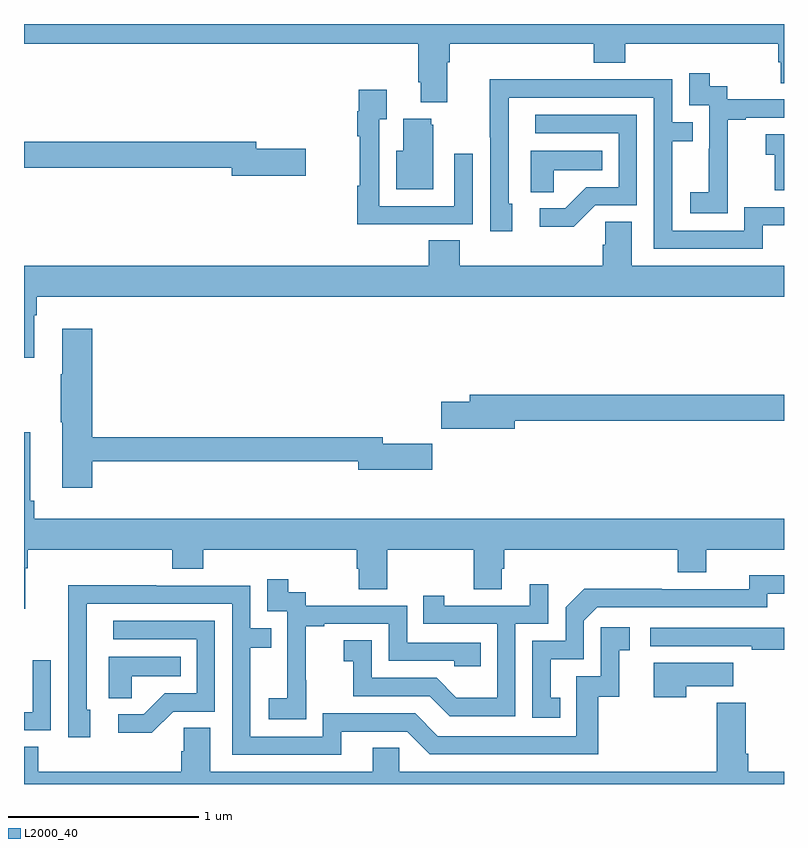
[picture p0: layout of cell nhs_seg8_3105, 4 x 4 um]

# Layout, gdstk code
import gdstk
lib = gdstk.Library(unit=1e-6, precision=1e-09)
def P(c, l, *ps):  # polygons
    for p in ps: c.add(gdstk.Polygon(p, *l))
L2000_40 = (2000, 40)

nhs_seg8_3105 = lib.new_cell('nhs_seg8_3105')
P(nhs_seg8_3105, L2000_40, [(305.227,1153.7),(305.24,1153.7),(305.24,1153.796),(305.999,1153.796),(305.999,1153.697),(306.164,1153.697),(306.164,1153.796),(306.971,1153.796),(306.971,1153.698),(306.983,1153.698),(306.983,1153.588),(307,1153.588),(307,1153.9),(303,1153.9),(303,1153.796),(305.075,1153.796),(305.075,1153.594),(305.087,1153.594),(305.087,1153.487),(305.227,1153.487)],
  [(306.705,1153.111),(306.704,1153.111),(306.704,1153.395),(306.799,1153.395),(306.799,1153.407),(307,1153.407),(307,1153.503),(306.702,1153.503),(306.702,1153.572),(306.61,1153.572),(306.61,1153.642),(306.501,1153.642),(306.501,1153.473),(306.606,1153.473),(306.606,1153.244),(306.605,1153.244),(306.605,1153.015),(306.507,1153.015),(306.507,1152.905),(306.705,1152.905)],
  [(306.889,1152.84),(307,1152.84),(307,1152.936),(306.792,1152.936),(306.792,1152.813),(306.411,1152.813),(306.411,1153.282),(306.521,1153.282),(306.521,1153.383),(306.411,1153.383),(306.411,1153.608),(305.915,1153.608),(305.915,1153.61),(305.452,1153.61),(305.452,1153.303),(305.454,1153.303),(305.454,1152.81),(305.569,1152.81),(305.569,1152.954),(305.55,1152.954),(305.55,1153.512),(306.315,1153.512),(306.315,1152.717),(306.889,1152.717)],
  [(305.045,1152.846),(305.361,1152.846),(305.361,1153.216),(305.265,1153.216),(305.265,1152.942),(304.869,1152.942),(304.869,1153.399),(304.909,1153.399),(304.909,1153.555),(304.761,1153.555),(304.761,1153.442),(304.753,1153.442),(304.753,1153.31),(304.768,1153.31),(304.768,1153.049),(304.753,1153.049),(304.753,1152.845),(305.045,1152.845)],
  [(306.006,1152.945),(306.225,1152.945),(306.225,1153.422),(305.691,1153.422),(305.691,1153.326),(306.129,1153.326),(306.129,1153.041),(305.96,1153.041),(305.849,1152.93),(305.715,1152.93),(305.715,1152.833),(305.893,1152.833)],
  [(305.155,1153.371),(305.144,1153.371),(305.144,1153.402),(304.997,1153.402),(304.997,1153.234),(304.958,1153.234),(304.958,1153.031),(305.155,1153.031)],
  [(307,1153.321),(306.903,1153.321),(306.903,1153.211),(306.952,1153.211),(306.952,1153.026),(307,1153.026)],
  [(304.483,1153.244),(304.222,1153.244),(304.222,1153.28),(303,1153.28),(303,1153.144),(304.094,1153.144),(304.094,1153.102),(304.483,1153.102)],
  [(305.787,1153.13),(306.044,1153.13),(306.044,1153.234),(305.666,1153.234),(305.666,1153.015),(305.787,1153.015)],
  [(303.055,1152.368),(303.068,1152.368),(303.068,1152.464),(307,1152.464),(307,1152.628),(306.199,1152.628),(306.199,1152.86),(306.06,1152.86),(306.06,1152.737),(306.047,1152.737),(306.047,1152.628),(305.294,1152.628),(305.294,1152.761),(305.129,1152.761),(305.129,1152.628),(303,1152.628),(303,1152.144),(303.055,1152.144)],
  [(303.359,1151.598),(304.76,1151.598),(304.76,1151.555),(305.149,1151.555),(305.149,1151.69),(304.888,1151.69),(304.888,1151.726),(303.359,1151.726),(303.359,1152.295),(303.2,1152.295),(303.2,1152.056),(303.193,1152.056),(303.193,1151.803),(303.2,1151.803),(303.2,1151.46),(303.359,1151.46)],
  [(305.584,1151.812),(307,1151.812),(307,1151.948),(305.345,1151.948),(305.345,1151.912),(305.196,1151.912),(305.196,1151.77),(305.584,1151.77)],
  [(303.007,1151.036),(303.02,1151.036),(303.02,1151.132),(303.779,1151.132),(303.779,1151.033),(303.944,1151.033),(303.944,1151.132),(304.751,1151.132),(304.751,1151.034),(304.763,1151.034),(304.763,1150.924),(304.911,1150.924),(304.911,1151.132),(305.368,1151.132),(305.368,1150.924),(305.515,1150.924),(305.515,1151.034),(305.528,1151.034),(305.528,1151.132),(306.44,1151.132),(306.44,1151.015),(306.592,1151.015),(306.592,1151.132),(307,1151.132),(307,1151.296),(303.053,1151.296),(303.053,1151.392),(303.034,1151.392),(303.034,1151.752),(303,1151.752),(303,1150.823),(303.007,1150.823)],
  [(305.822,1150.353),(305.773,1150.353),(305.773,1150.557),(305.946,1150.557),(305.946,1150.758),(306.018,1150.83),(306.912,1150.83),(306.912,1150.902),(307,1150.902),(307,1150.999),(306.816,1150.999),(306.816,1150.926),(306.356,1150.926),(306.356,1150.928),(305.948,1150.928),(305.85,1150.83),(305.85,1150.653),(305.676,1150.653),(305.676,1150.248),(305.822,1150.248)],
  [(304.485,1150.447),(304.484,1150.447),(304.484,1150.731),(304.579,1150.731),(304.579,1150.743),(304.92,1150.743),(304.92,1150.548),(305.265,1150.548),(305.265,1150.521),(305.405,1150.521),(305.405,1150.644),(305.016,1150.644),(305.016,1150.839),(304.482,1150.839),(304.482,1150.908),(304.39,1150.908),(304.39,1150.978),(304.281,1150.978),(304.281,1150.809),(304.386,1150.809),(304.386,1150.58),(304.385,1150.58),(304.385,1150.351),(304.287,1150.351),(304.287,1150.241),(304.485,1150.241)],
  [(305.586,1150.743),(305.76,1150.743),(305.76,1150.951),(305.663,1150.951),(305.663,1150.839),(305.212,1150.839),(305.212,1150.891),(305.101,1150.891),(305.101,1150.743),(305.49,1150.743),(305.49,1150.354),(305.276,1150.354),(305.172,1150.458),(304.83,1150.458),(304.83,1150.657),(304.683,1150.657),(304.683,1150.547),(304.732,1150.547),(304.732,1150.362),(305.135,1150.362),(305.24,1150.257),(305.586,1150.257)],
  [(304.669,1150.176),(305.016,1150.176),(305.136,1150.056),(306.023,1150.056),(306.023,1150.359),(306.134,1150.359),(306.134,1150.605),(306.187,1150.605),(306.187,1150.726),(306.036,1150.726),(306.036,1150.467),(305.907,1150.467),(305.907,1150.152),(305.178,1150.152),(305.058,1150.272),(304.572,1150.272),(304.572,1150.149),(304.191,1150.149),(304.191,1150.618),(304.301,1150.618),(304.301,1150.719),(304.191,1150.719),(304.191,1150.944),(303.695,1150.944),(303.695,1150.946),(303.232,1150.946),(303.232,1150.639),(303.234,1150.639),(303.234,1150.146),(303.349,1150.146),(303.349,1150.29),(303.33,1150.29),(303.33,1150.848),(304.095,1150.848),(304.095,1150.053),(304.669,1150.053)],
  [(303.786,1150.281),(304.005,1150.281),(304.005,1150.758),(303.471,1150.758),(303.471,1150.662),(303.909,1150.662),(303.909,1150.377),(303.74,1150.377),(303.629,1150.266),(303.495,1150.266),(303.495,1150.169),(303.673,1150.169)],
  [(307,1150.722),(306.297,1150.722),(306.297,1150.626),(306.829,1150.626),(306.829,1150.606),(307,1150.606)],
  [(303.567,1150.466),(303.824,1150.466),(303.824,1150.57),(303.446,1150.57),(303.446,1150.351),(303.567,1150.351)],
  [(303.141,1150.552),(303.045,1150.552),(303.045,1150.278),(303,1150.278),(303,1150.182),(303.141,1150.182)],
  [(306.485,1150.415),(306.733,1150.415),(306.733,1150.537),(306.314,1150.537),(306.314,1150.356),(306.485,1150.356)],
  [(307,1149.964),(306.812,1149.964),(306.812,1150.06),(306.799,1150.06),(306.799,1150.327),(306.647,1150.327),(306.647,1149.964),(304.974,1149.964),(304.974,1150.091),(304.835,1150.091),(304.835,1149.964),(303.979,1149.964),(303.979,1150.196),(303.84,1150.196),(303.84,1150.073),(303.827,1150.073),(303.827,1149.964),(303.074,1149.964),(303.074,1150.097),(303,1150.097),(303,1149.9),(307,1149.9)])

lib.write_gds('nhs_seg8_3105.gds')
